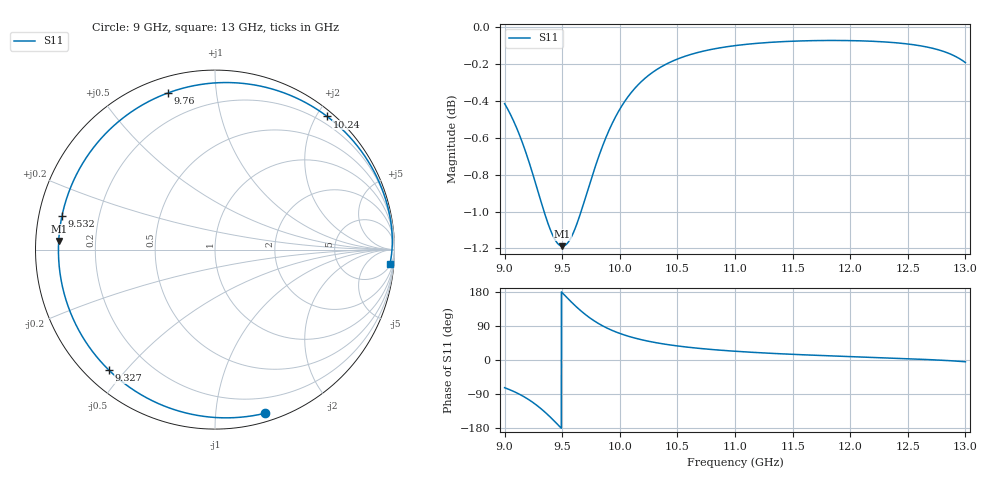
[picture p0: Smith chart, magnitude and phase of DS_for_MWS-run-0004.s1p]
! TOUCHSTONE file generated by CST DESIGN STUDIO
! Date and time: Wed Feb  5 13:45:09 2025
! Project name: C:\Work\MatlabApps\UnitCellOptimizationMatlab\CST\unitcell.cst
! Tree item: Tasks\Sweep1\SPara1\S-Parameters
! Header version: 2024
! Port assignment regex: !\s*Touchstone port\s*([0-9]+)\s*=\s*(CST MWS port|CST DES external port|CST DES block port)\s*(.+)\s* \(\"(.*)\"\)(\s*mode\s*([0-9]+))?.*
! Touchstone port assignment:
! Touchstone port 1 = CST DES external port 1 ("")
# GHz S MA R 50
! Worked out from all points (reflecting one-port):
!   4001 points, 9 GHz to 13 GHz, reference 50 ohm
!   lowest |S11| = -1.2 dB at 9.502 GHz (marker M1), VSWR 14.65, Z = 3.42 + j1.36 ohm
!   phase of S11 starts at -73 deg and turns -292 deg over the sweep
!   S11 on the Smith chart (normalised r, x): 9 GHz: 0.07, -1.35; 9.327 GHz: 0.07, -0.45; 9.532 GHz: 0.07, +0.11; 9.76 GHz: 0.07, +0.74; 10.24 GHz: 0.09, +2.15; 13 GHz: 6, -23
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9  0.9534 -73.1
9.086  0.9419 -84.0
9.188  0.9241 -100.5
9.26  0.909 -115.2
9.327  0.8945 -131.4
9.373  0.8853 -143.9
9.421  0.8777 -157.9
9.461  0.8737 -170.2
9.5  0.8722 177.5
9.502  0.8722 176.9
9.532  0.873 167.5
9.586  0.878 151.0
9.648  0.8882 133.5
9.703  0.8993 119.5
9.76  0.9112 106.9
9.809  0.9209 97.3
9.863  0.9307 88.2
9.93  0.9411 78.5
10  0.9501 70.1
10.113  0.9611 59.3
10.242  0.9699 49.9
10.5  0.9803 37.1
10.722  0.9851 29.7
11  0.9885 23.1
11.5  0.9913 14.9
12  0.9916 9.0
12.5  0.9895 3.4
13  0.9781 -4.6
